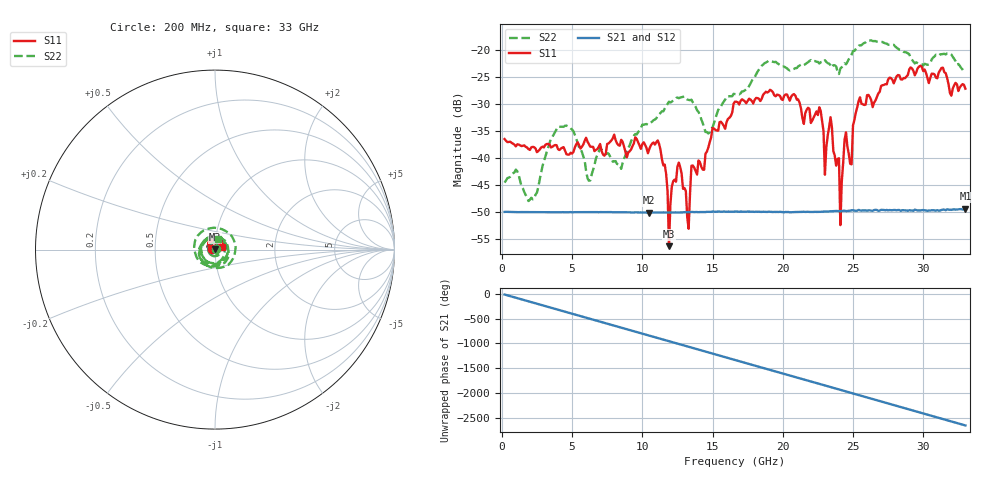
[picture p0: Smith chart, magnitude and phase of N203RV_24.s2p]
# GHZ S RI R 50
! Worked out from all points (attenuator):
!   329 points, 200 MHz to 33 GHz, reference 50 ohm
!   highest |S21| = -49.38 dB at 33 GHz (marker M1); lowest = -50.1 dB at 10.5 GHz (marker M2)
!   lowest |S11| = -56.3 dB at 11.9 GHz (marker M3), VSWR 1.00, Z = 50 + j0.149 ohm
!   |S11| at or under -10 dB: start of sweep to end of sweep
!   |S22| runs from -48.0 to -18.2 dB; largest |S21 - S12| = 7.2e-05
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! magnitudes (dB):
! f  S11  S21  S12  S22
! 200 MHz  -36.5  -50.0  -50.0  -44.5
! 5.7 GHz  -37.9  -50.0  -50.0  -38.8
! 10.5 GHz  -38.3  -50.1  -50.1  -33.5
! 11.2 GHz  -37.4  -50.1  -50.1  -31.9
! 11.7 GHz  -43.0  -50.1  -50.1  -30.4
! 11.9 GHz  -56.3  -50.1  -50.1  -29.5
! 12.6 GHz  -40.8  -50.1  -50.1  -28.9
! 13.3 GHz  -53.1  -50.0  -50.0  -29.2
! 13.5 GHz  -41.4  -50.0  -50.0  -29.2
! 14.7 GHz  -38.0  -50.0  -50.0  -35.4
! 16.6 GHz  -29.5  -49.9  -49.9  -28.1
! 22.1 GHz  -33.0  -50.0  -49.9  -22.0
! 22.7 GHz  -31.2  -50.0  -50.0  -22.2
! 23 GHz  -43.1  -49.9  -49.9  -21.8
! 23.4 GHz  -32.4  -49.9  -49.8  -22.8
! 24 GHz  -40.0  -49.8  -49.8  -24.4
! 24.1 GHz  -52.4  -49.9  -49.8  -23.4
! 24.5 GHz  -35.2  -49.8  -49.8  -22.6
! 24.9 GHz  -41.1  -49.7  -49.7  -20.8
! 25.5 GHz  -28.7  -49.7  -49.7  -19.1
! 27.6 GHz  -25.0  -49.6  -49.7  -19.0
! 33 GHz  -27.1  -49.4  -49.4  -24.0
